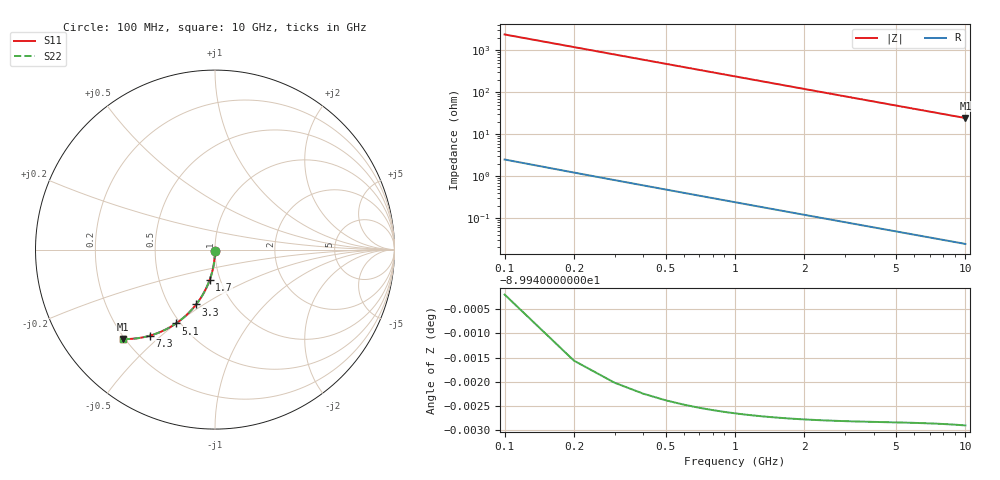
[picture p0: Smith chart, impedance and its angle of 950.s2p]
# Hz S RI R 50.00
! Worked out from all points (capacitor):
!   100 points, 100 MHz to 10 GHz, reference 50 ohm
!   read as one part in shunt: C = 664 fF near 100 MHz
!   lowest |Z| = 24.4 ohm at 10 GHz (marker M1)
!   S11 on the Smith chart (normalised r, x): 100 MHz: 1.00, -0.02; 1.7 GHz: 0.89, -0.31; 3.3 GHz: 0.68, -0.47; 5.1 GHz: 0.47, -0.50; 7.3 GHz: 0.31, -0.46; 10 GHz: 0.19, -0.39
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1e8  -0.000118 -0.0104  0.9999 -0.0104  0.9999 -0.0104  -0.000118 -0.0104
2e8  -0.000454 -0.0208  0.9995 -0.0209  0.9995 -0.0209  -0.000454 -0.0208
3e8  -0.00101 -0.0312  0.999 -0.0313  0.999 -0.0313  -0.00101 -0.0312
4e8  -0.00178 -0.0416  0.9982 -0.0417  0.9982 -0.0417  -0.00178 -0.0416
5e8  -0.00276 -0.0519  0.9972 -0.0521  0.9972 -0.0521  -0.00276 -0.0519
6e8  -0.00396 -0.0622  0.996 -0.0624  0.996 -0.0624  -0.00396 -0.0622
8e8  -0.00699 -0.0827  0.993 -0.0829  0.993 -0.0829  -0.00699 -0.0827
9e8  -0.00881 -0.0929  0.9912 -0.0931  0.9912 -0.0931  -0.00881 -0.0929
1.1e9  -0.0131 -0.113  0.9869 -0.1132  0.9869 -0.1132  -0.0131 -0.113
1.4e9  -0.0209 -0.1425  0.9791 -0.1428  0.9791 -0.1428  -0.0209 -0.1425
1.7e9  -0.0305 -0.1712  0.9695 -0.1716  0.9695 -0.1716  -0.0305 -0.1712
1.8e9  -0.034 -0.1806  0.966 -0.181  0.966 -0.181  -0.034 -0.1806
2.1e9  -0.0457 -0.208  0.9543 -0.2085  0.9543 -0.2085  -0.0457 -0.208
2.5e9  -0.0633 -0.2428  0.9367 -0.2433  0.9367 -0.2433  -0.0633 -0.2428
3.3e9  -0.1049 -0.3056  0.8951 -0.3064  0.8951 -0.3064  -0.1049 -0.3056
3.4e9  -0.1106 -0.3128  0.8894 -0.3136  0.8894 -0.3136  -0.1106 -0.3128
4.2e9  -0.159 -0.3647  0.841 -0.3657  0.841 -0.3657  -0.159 -0.3647
5.1e9  -0.2173 -0.4113  0.7827 -0.4125  0.7827 -0.4125  -0.2173 -0.4113
6.7e9  -0.3227 -0.4662  0.6773 -0.4678  0.6773 -0.4678  -0.3227 -0.4662
7.3e9  -0.3609 -0.4789  0.6391 -0.4806  0.6391 -0.4806  -0.3609 -0.4789
8.4e9  -0.4271 -0.4932  0.5729 -0.4952  0.5729 -0.4952  -0.4271 -0.4932
1e10  -0.513 -0.4981  0.487 -0.5005  0.487 -0.5005  -0.513 -0.4981
